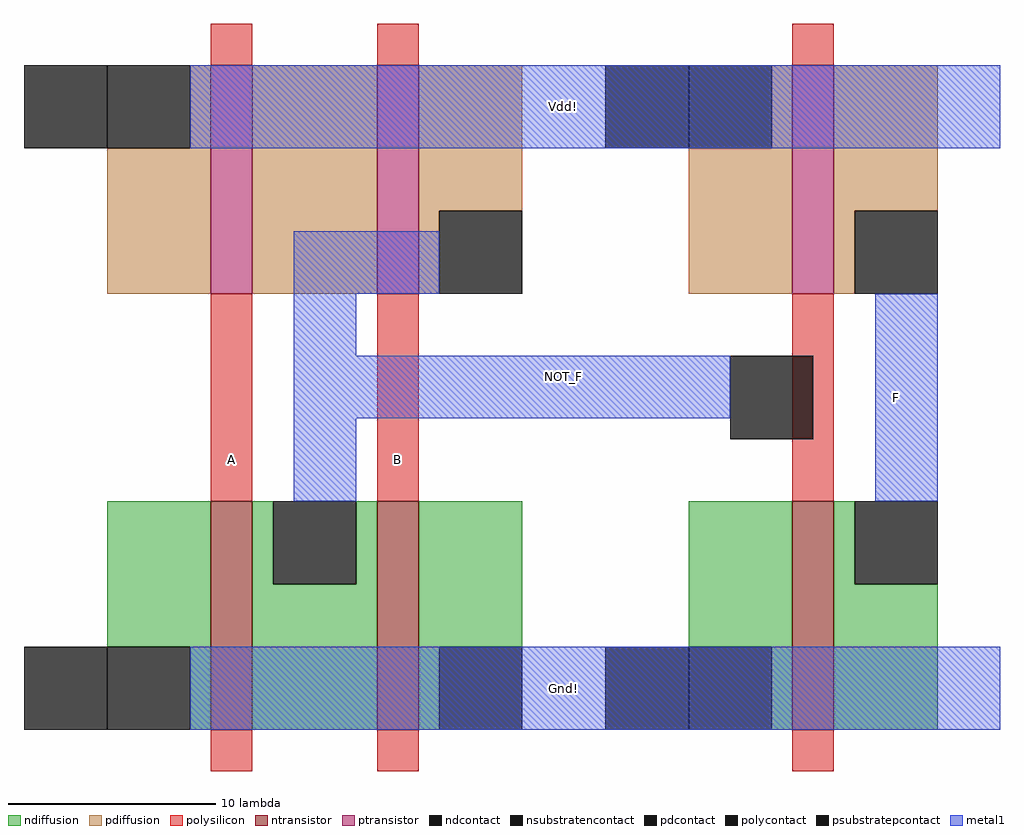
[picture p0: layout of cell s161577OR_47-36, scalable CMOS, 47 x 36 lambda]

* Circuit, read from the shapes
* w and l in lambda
.subckt s161577OR_47-36 A B F Gnd! NOT_F Vdd!
M1 NOT_F A Gnd! Gnd! nfet w=11 l=2
M2 Gnd! B NOT_F Gnd! nfet w=11 l=2
M3 F NOT_F Gnd! Gnd! nfet w=11 l=2
M4 n1 A Vdd! Vdd! pfet w=11 l=2
M5 NOT_F B n1 Vdd! pfet w=11 l=2
M6 F NOT_F Vdd! Vdd! pfet w=11 l=2
.ends

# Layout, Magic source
magic
tech scmos
<< polysilicon >>
rect -3 4 -1 6
rect 5 4 7 6
<< metal1 >>
rect 7 20 27 24
rect 4 7 22 10
rect 29 6 32 10
rect 7 -8 27 -4
<< polycontact >>
rect 22 6 26 10
use s161577NOR_47-36  s161577NOR_47-36_0
transform 1 0 4 0 1 10
box -16 -20 11 16
use s161577NOT_47-36  s161577NOT_47-36_0
transform 1 0 26 0 1 12
box -10 -22 9 14
<< labels >>
rlabel metal1 14 22 14 22 5 Vdd!
rlabel metal1 14 -6 14 -6 1 Gnd!
rlabel metal1 14 9 14 9 1 NOT_F
rlabel polysilicon -2 5 -2 5 1 A
rlabel polysilicon 6 5 6 5 1 B
rlabel metal1 30 8 30 8 7 F
<< end >>

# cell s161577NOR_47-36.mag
magic
tech scmos
<< polysilicon >>
rect -7 14 -5 16
rect 1 14 3 16
rect -7 -7 -5 3
rect 1 -7 3 3
rect -7 -20 -5 -18
rect 1 -20 3 -18
<< ndiffusion >>
rect -12 -14 -7 -7
rect -8 -18 -7 -14
rect -5 -11 -4 -7
rect 0 -11 1 -7
rect -5 -18 1 -11
rect 3 -14 8 -7
rect 3 -18 4 -14
<< pdiffusion >>
rect -8 10 -7 14
rect -12 3 -7 10
rect -5 3 1 14
rect 3 7 8 14
rect 3 3 4 7
<< metal1 >>
rect -8 10 11 14
rect -3 3 4 6
rect -3 -7 0 3
rect -8 -18 4 -14
rect 8 -18 11 -14
<< ntransistor >>
rect -7 -18 -5 -7
rect 1 -18 3 -7
<< ptransistor >>
rect -7 3 -5 14
rect 1 3 3 14
<< ndcontact >>
rect -12 -18 -8 -14
rect -4 -11 0 -7
rect 4 -18 8 -14
<< pdcontact >>
rect -12 10 -8 14
rect 4 3 8 7
<< psubstratepcontact >>
rect -16 -18 -12 -14
<< nsubstratencontact >>
rect -16 10 -12 14
<< labels >>
rlabel polysilicon -6 0 -6 0 1 A
rlabel polysilicon 2 0 2 0 1 B
rlabel metal1 -2 0 -2 0 1 F
rlabel metal1 9 12 9 12 6 Vdd!
rlabel metal1 9 -16 9 -16 8 Gnd!
<< end >>

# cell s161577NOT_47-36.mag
magic
tech scmos
<< polysilicon >>
rect -1 12 1 14
rect -1 -9 1 1
rect -1 -22 1 -20
<< ndiffusion >>
rect -6 -16 -1 -9
rect -2 -20 -1 -16
rect 1 -13 2 -9
rect 1 -20 6 -13
<< pdiffusion >>
rect -2 8 -1 12
rect -6 1 -1 8
rect 1 5 6 12
rect 1 1 2 5
<< metal1 >>
rect -2 8 9 12
rect 3 -9 6 1
rect -2 -20 9 -16
<< ntransistor >>
rect -1 -20 1 -9
<< ptransistor >>
rect -1 1 1 12
<< ndcontact >>
rect -6 -20 -2 -16
rect 2 -13 6 -9
<< pdcontact >>
rect -6 8 -2 12
rect 2 1 6 5
<< psubstratepcontact >>
rect -10 -20 -6 -16
<< nsubstratencontact >>
rect -10 8 -6 12
<< labels >>
rlabel metal1 7 10 7 10 6 Vdd!
rlabel metal1 7 -18 7 -18 7 Gnd!
rlabel polysilicon 0 -2 0 -2 1 A
rlabel metal1 5 -2 5 -2 7 F
<< end >>
